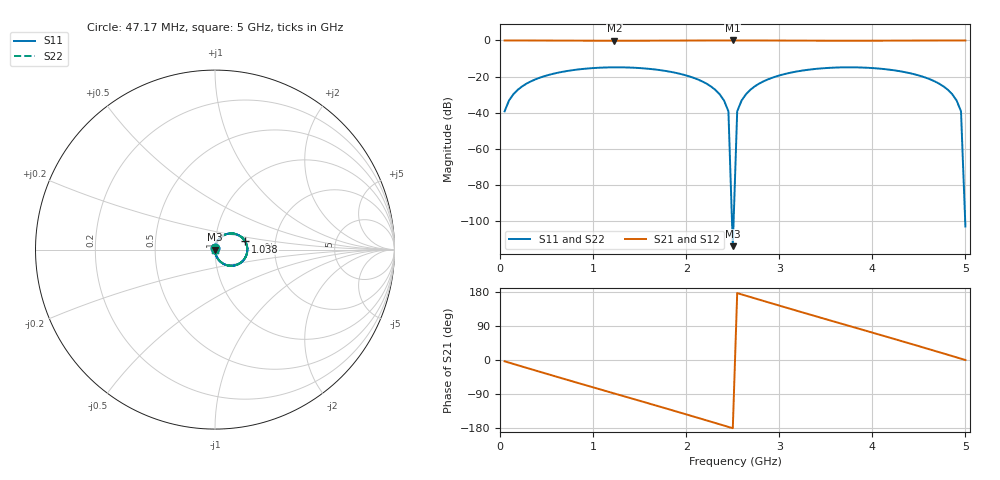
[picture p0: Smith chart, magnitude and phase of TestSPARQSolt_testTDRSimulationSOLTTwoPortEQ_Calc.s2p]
# MHz MA S R 50.0
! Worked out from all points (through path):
!   106 points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, 47.17 MHz to 5 GHz, reference 50 ohm
!   highest |S21| = 0.00 dB at 2.5 GHz (marker M1); lowest = -0.1 dB at 1.226 GHz (marker M2)
!   group delay of S21, straight-line fit = 200 ps
!   lowest |S11| = -114.0 dB at 2.5 GHz (marker M3), VSWR 1.00, Z = 50 - j1.88e-10 ohm
!   |S11| at or under -10 dB: start of sweep to end of sweep
!   |S22| runs from -103.1 to -14.9 dB; largest |S21 - S12| = 1.5e-05
!   S11 on the Smith chart (normalised r, x): 47.17 MHz: 1.00, +0.02; 1.038 GHz: 1.40, +0.13; 5 GHz: 1.00, +0.00
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47.16981  0.01086 86.5  0.9999 -3.5  0.9999 -3.5  0.01086 86.5
141.5094  0.03242 79.6  0.9995 -10.4  0.9995 -10.4  0.03242 79.7
283.0189  0.0637 69.3  0.998 -20.7  0.998 -20.7  0.0637 69.3
896.2264  0.1633 25.1  0.9866 -64.9  0.9866 -64.9  0.1633 25.1
1037.736  0.1742 15.0  0.9847 -75.0  0.9847 -75.0  0.1742 15.0
1226.415  0.1803 1.7  0.9836 -88.3  0.9836 -88.3  0.1803 1.7
1698.113  0.1532 -31.8  0.9882 -121.8  0.9882 -121.8  0.1532 -31.8
2169.811  0.07371 -65.9  0.9973 -155.9  0.9973 -155.9  0.07371 -65.9
2311.321  0.04302 -76.2  0.9991 -166.2  0.9991 -166.2  0.04301 -76.2
2405.66  0.02167 -83.1  0.9998 -173.1  0.9998 -173.1  0.02167 -83.1
2452.83  0.01086 -86.6  0.9999 -176.5  0.9999 -176.5  0.01086 -86.6
2500  2e-06 -180.0  1 -180.0  1 -180.0  1.5e-05 -180.0
2547.17  0.01086 86.6  0.9999 176.5  0.9999 176.5  0.01086 86.6
2641.509  0.03241 79.6  0.9995 169.6  0.9995 169.6  0.0324 79.7
2783.019  0.06371 69.3  0.998 159.3  0.998 159.3  0.06371 69.3
3396.226  0.1633 25.1  0.9866 115.1  0.9866 115.1  0.1633 25.1
3773.585  0.1803 -1.7  0.9836 88.3  0.9836 88.3  0.1803 -1.7
4198.113  0.1532 -31.8  0.9882 58.2  0.9882 58.2  0.1532 -31.8
4669.811  0.0737 -65.9  0.9973 24.1  0.9973 24.1  0.0737 -65.9
4905.66  0.02169 -83.1  0.9998 6.9  0.9998 6.9  0.02168 -83.1
4952.83  0.01086 -86.5  0.9999 3.5  0.9999 3.5  0.01086 -86.5
5000  7e-06 -0.0  1 0.0  1 0.0  7e-06 0.0
